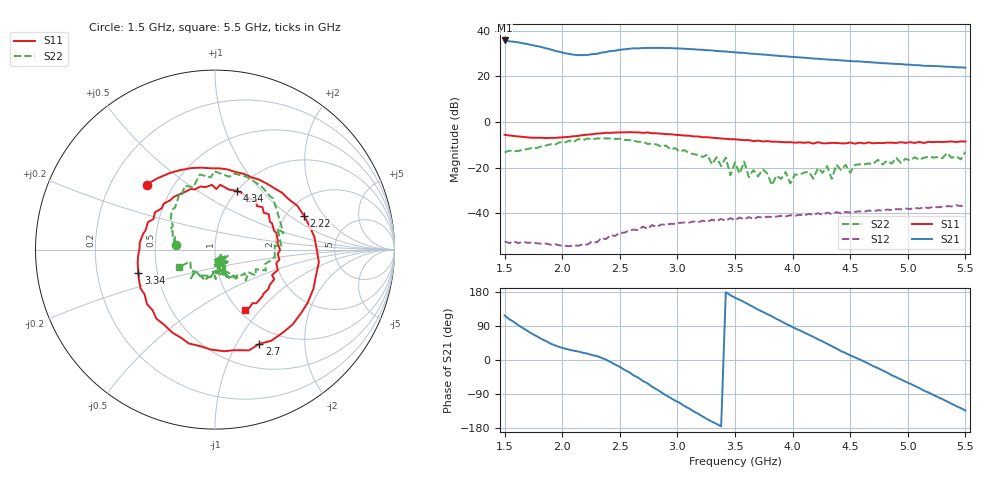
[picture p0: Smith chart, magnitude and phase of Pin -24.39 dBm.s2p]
! RsaToolbox (C) 2015 Rohde & Schwarz America
! Number of points: 101
! Number of ports: 2
! Balanced ports?: No
# Hz S RI R 50
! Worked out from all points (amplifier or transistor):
!   101 points, 1.5 GHz to 5.5 GHz, reference 50 ohm
!   highest |S21| = 35.8 dB at 1.5 GHz (marker M1)
!   |S21| within 3 dB of that: start of sweep to 1.828 GHz
!   unconditionally stable (mu >= 1): start of sweep to end of sweep
!   at 2.14 GHz: K = 5.56, MAG = 31.3 dB, |S12| = -54.2 dB
!   at 3.5 GHz: K = 1.87, MAG = 31.4 dB, |S12| = -43.1 dB
!   at 5.5 GHz: K = 1.72, MAG = 25.0 dB, |S12| = -36.0 dB
!   S11 on the Smith chart (normalised r, x): 1.5 GHz: 0.35, +0.36; 2.22 GHz: 2.48, +1.30; 2.7 GHz: 0.79, -1.25; 3.34 GHz: 0.39, -0.13; 4.34 GHz: 1.00, +0.75; 5.5 GHz: 1.06, -0.83
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1.5e9  -0.3811 0.3624  -28.45 54.57  0.00158 -0.00184  -0.2158 0.0258
1.62e9  -0.1963 0.4423  -1.572 55.99  0.000916 -0.00203  -0.2213 0.0756
1.82e9  0.0693 0.4469  25 36.39  -0.000117 -0.00216  -0.246 0.1647
1.98e9  0.2439 0.3906  28.76 19.28  -0.000549 -0.0019  -0.1997 0.3045
2.18e9  0.4585 0.2445  27.74 9.568  -0.000516 -0.00203  -0.023 0.4021
2.22e9  0.4962 0.1883  28.34 8.56  -0.000462 -0.00202  -0.00455 0.4371
2.38e9  0.5787 -0.0711  34.32 0.4587  -0.000875 -0.00259  0.2094 0.3854
2.5e9  0.5171 -0.295  36.48 -11.95  -0.00229 -0.003  0.3224 0.2864
2.7e9  0.2473 -0.5251  23.85 -34.64  -0.00445 -0.00259  0.3701 0.0167
2.86e9  -0.0247 -0.5565  3.585 -42.22  -0.00563 -0.000988  0.2761 -0.0821
3.02e9  -0.2387 -0.4618  -16.04 -37.8  -0.00597 0.00165  0.1867 -0.1271
3.14e9  -0.3467 -0.3393  -28.07 -27.86  -0.00595 0.00301  0.1148 -0.1622
3.34e9  -0.4269 -0.1301  -35.38 -7.071  -0.00381 0.00567  0.0754 -0.1525
3.5e9  -0.4194 0.0392  -32.56 9.236  -0.00204 0.00673  0.0195 -0.1284
3.7e9  -0.3344 0.2078  -21.03 22.61  0.00109 0.00832  0.0228 -0.0601
3.86e9  -0.2302 0.2934  -9.018 27.1  0.00384 0.00758  0.0163 -0.0652
4.18e9  0.00765 0.3375  11.9 21.66  0.00825 0.00416  -0.000957 -0.0577
4.34e9  0.1238 0.3283  18.64 13.85  0.00953 0.00153  0.0218 -0.0522
4.58e9  0.2645 0.2363  21.33 0.6692  0.0106 -0.00335  0.0571 -0.1047
4.86e9  0.3507 0.0468  14.57 -12.27  0.00713 -0.0095  -0.013 -0.1218
5.22e9  0.3042 -0.1983  -0.533 -16.97  -0.00112 -0.0139  -0.0836 -0.1452
5.5e9  0.1648 -0.3364  -10.64 -11.34  -0.00911 -0.0129  -0.2005 -0.097
